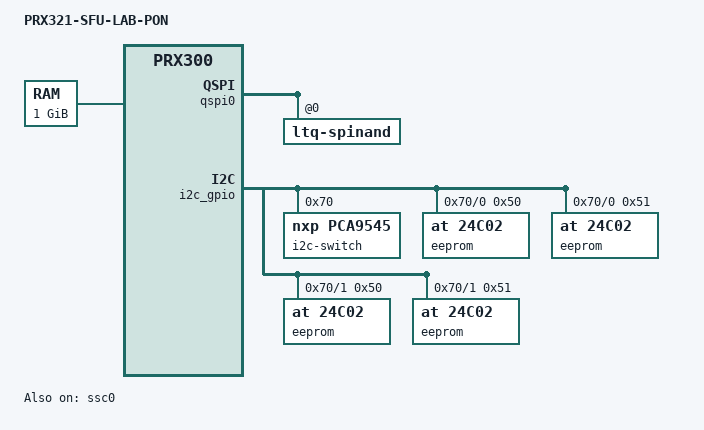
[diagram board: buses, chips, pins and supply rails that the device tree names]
/dts-v1/;
#include "prx321-sfu.dtsi"
#include "prx300-pon.dtsi"

/ {
	model = "PRX321-SFU-LAB-PON";
	compatible = "intel,prx321-sfu-lab-pon", "intel,prx321-sfu", "intel,prx300";

	chosen {
		stdout-path = "serial0";
	};

	memory@0 {
		device_type = "memory";
		reg = <0x20000000 0x40000000>; /* 1024 MB */
	};
};

/* For voice enable the SPI driver needed for access to the on silicon VCODEC but prevent switching the pinmux to this SPI bus. On this design these pins are used for the QSPI bus. */
&ssc0 {
	status = "okay";
	/delete-property/ pinctrl-names;
	/delete-property/ pinctrl-0;
};

&qspi0 {
	status = "okay";
	ltq-spinand@0 {
		status = "okay";
	};
};

/* On the lab board the external PHY is replaced by an SFP slot,
 * so delete unneeded references.
 */
&lan0_port {
	/delete-property/ phy-handle;
};

&mdio0 {
	/delete-property/ aquantia_phy;
};

/* remove resets for Aquantia PHY */
&gsw_mac1 {
	/delete-property/ reset-gpios;
};

&i2c_gpio {
	status = "okay";

	/* no eeprom without mux */
	/delete-node/ eeprom@50;
	/delete-node/ eeprom@51;

	i2c-switch@70 {
		/* The board has a pca0546, but the driver has a bug to handle
		 * this compatible string.
		 * Add the compatible device pca9545 in addition.
		 */
		compatible = "nxp,pca9545", "nxp,pca9546";
		#address-cells = <1>;
		#size-cells = <0>;
		reg = <0x70>;

		/* connection to LAN SFP */
		i2c@0 {
			#address-cells = <1>;
			#size-cells = <0>;
			reg = <0>;

			eeprom@50 {
				compatible = "at,24c02";
				reg = <0x50>;
			};
			eeprom@51 {
				compatible = "at,24c02";
				reg = <0x51>;
			};
		};

		/* connection to WAN/PON SFP */
		i2c@1 {
			#address-cells = <1>;
			#size-cells = <0>;
			reg = <1>;

			eeprom@50 {
				compatible = "at,24c02";
				reg = <0x50>;
			};
			eeprom@51 {
				compatible = "at,24c02";
				reg = <0x51>;
			};
		};
	};
};
